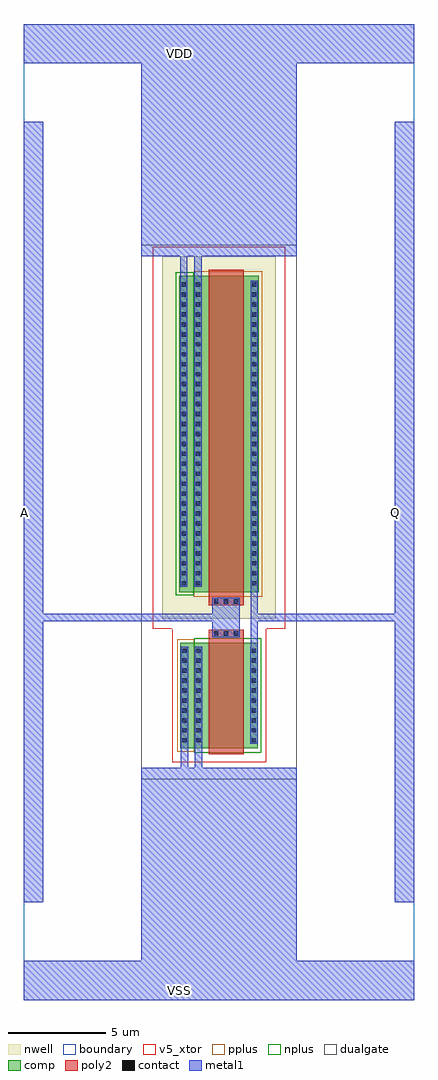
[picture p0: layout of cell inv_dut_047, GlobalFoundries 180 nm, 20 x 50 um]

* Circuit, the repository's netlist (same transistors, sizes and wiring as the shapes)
* inv_dut_047: pfet_05v0 W=16.20u L=1.80u / nfet_05v0 W=5.40u L=1.80u
.SUBCKT inv_dut_047 A Q VDD VSS
MMP Q A VDD VDD pfet_05v0 W=16.20u L=1.80u
MMN Q A VSS VSS nfet_05v0 W=5.40u L=1.80u
.ENDS

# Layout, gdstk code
import gdstk
lib = gdstk.Library(unit=1e-6, precision=1e-09)
def R(c, l, rs):  # rectangles x0, y0, x1, y1
    for r in rs: c.add(gdstk.rectangle(r[:2], r[2:], *l))
def A(c, l, x, y, w, h, nx, ny, dx, dy):  # array of equal rectangles
    R(c, l, [(x+i*dx, y+j*dy, x+i*dx+w, y+j*dy+h) for i in range(nx) for j in range(ny)])
boundary = (0, 0)
nwell = (21, 0)
comp = (22, 0)
poly2 = (30, 0)
pplus = (31, 0)
nplus = (32, 0)
contact = (33, 0)
metal1 = (34, 0)
dualgate = (55, 0)
v5_xtor = (112, 1)

inv_dut_047 = lib.new_cell('inv_dut_047')
R(inv_dut_047, boundary, [(-10,-25,10,25)])
R(inv_dut_047, nwell, [(-2.895,-5.47,2.895,13.09)])
R(inv_dut_047, comp, [(-1.975,-12.1,1.995,-6.7), (-2.035,-4.1,2.035,12.1)])
R(inv_dut_047, poly2, [(-0.535,-12.4,1.265,-6.04), (-0.535,-4.78,1.265,12.4)])
R(inv_dut_047, pplus, [(-2.145,-12.27,-1.265,-6.53), (-1.305,-4.34,2.205,12.34)])
R(inv_dut_047, nplus, [(-1.265,-12.34,2.165,-6.46), (-2.205,-4.27,-1.305,12.27)])
A(inv_dut_047, contact, -1.875, -11.805, 0.22, 0.22, 1, 10, 0, 0.51)
A(inv_dut_047, contact, -1.165, -11.805, 0.22, 0.22, 1, 10, 0, 0.51)
A(inv_dut_047, contact, 1.675, -11.805, 0.22, 0.22, 1, 10, 0, 0.51)
A(inv_dut_047, contact, -0.255, -6.33, 0.22, 0.22, 3, 2, 0.51, 1.63)
A(inv_dut_047, contact, -1.915, -3.76, 0.22, 0.22, 1, 31, 0, 0.51)
A(inv_dut_047, contact, -1.185, -3.76, 0.22, 0.22, 1, 31, 0, 0.51)
A(inv_dut_047, contact, 1.695, -3.76, 0.22, 0.22, 1, 31, 0, 0.51)
R(inv_dut_047, metal1, [(-10,-25,10,-23), (-3.995,-23,3.995,-13.4), (-10,-20,-9,20), (9,-20,10,20), (-3.995,-13.7,3.995,-13.1), (-1.955,-13.7,-1.575,-6.915), (-1.245,-13.7,-0.865,-6.915), (-1.955,-11.885,-1.575,-6.915), (-1.245,-11.885,-0.865,-6.915), (1.595,-11.885,1.975,-6.915), (1.595,-7.295,1.995,-6.915), (1.615,-7.295,1.995,-3.46), (-0.335,-6.41,1.065,-4.4), (-0.335,-6.41,1.065,-6.03), (-9,-5.6,-3.695,-5.2), (-3.995,-5.6,1.065,-5.2), (1.615,-5.6,3.995,-5.2), (3.695,-5.6,9,-5.2), (-0.335,-4.78,1.065,-4.4), (-1.995,-3.84,-1.615,13.7), (-1.995,-3.84,-1.615,11.84), (-1.265,-3.84,-0.885,13.7), (-1.265,-3.84,-0.885,11.84), (1.615,-3.84,1.995,-3.46), (1.615,-3.84,1.995,11.84), (-3.995,13.1,3.995,13.7), (-3.995,13.4,3.995,23), (-10,23,10,25)])
R(inv_dut_047, dualgate, [(-3.995,-13.7,3.995,13.7), (-2.395,-12.81,2.415,-5.62), (-3.395,-5.97,3.395,13.59)])
R(inv_dut_047, v5_xtor, [(-2.395,-12.81,2.415,-5.62), (-3.395,-5.97,3.395,13.59)])
inv_dut_047.add(gdstk.Label('VDD', (-2,23.5), layer=34, texttype=10))
inv_dut_047.add(gdstk.Label('VSS', (-2,-24.5), layer=34, texttype=10))
inv_dut_047.add(gdstk.Label('A', (-9.97,0), layer=34, texttype=10))
inv_dut_047.add(gdstk.Label('Q', (9.03,0), layer=34, texttype=10))

lib.write_gds('inv_dut_047.gds')
